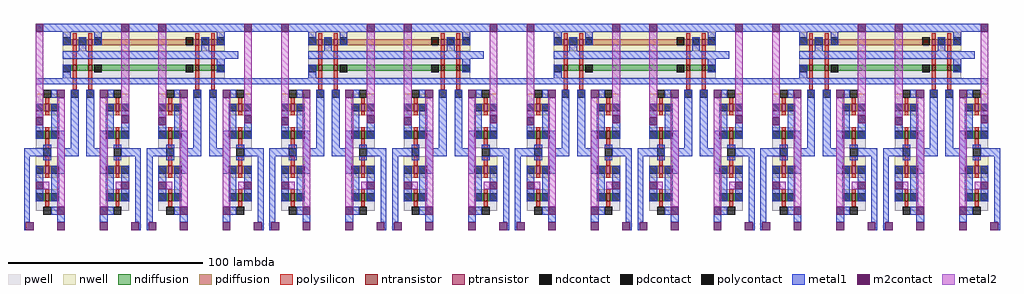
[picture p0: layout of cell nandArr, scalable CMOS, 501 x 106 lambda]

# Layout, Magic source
magic
tech scmos
<< metal1 >>
rect 108 102 140 106
rect 232 102 268 106
rect 359 102 394 106
rect 110 75 139 78
rect 229 75 269 78
rect 362 75 393 78
use muxNand4  muxNand4_0
transform 1 0 0 0 1 8
box 0 -8 123 98
use muxNand4  muxNand4_1
transform 1 0 126 0 1 8
box 0 -8 123 98
use muxNand4  muxNand4_2
transform 1 0 252 0 1 8
box 0 -8 123 98
use muxNand4  muxNand4_3
transform 1 0 378 0 1 8
box 0 -8 123 98
<< end >>

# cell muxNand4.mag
magic
tech scmos
<< pwell >>
rect 25 70 90 80
<< nwell >>
rect 25 84 90 94
<< ndiffusion >>
rect 36 74 103 77
<< pdiffusion >>
rect 36 87 103 90
<< metal1 >>
rect 6 94 117 98
rect 20 87 24 94
rect 28 84 32 91
rect 36 87 40 94
rect 91 84 95 91
rect 99 87 103 94
rect 20 80 110 84
rect 20 70 24 77
rect 99 73 103 80
rect 6 67 117 70
rect 0 30 14 34
rect 50 30 60 34
rect 0 -4 3 30
rect 17 -4 21 4
rect 0 -8 1 -4
rect 39 -4 43 4
rect 57 -4 60 30
rect 59 -8 60 -4
rect 63 30 77 34
rect 113 30 123 34
rect 63 -4 66 30
rect 80 -4 84 4
rect 63 -8 64 -4
rect 102 -4 106 4
rect 120 -4 123 30
rect 122 -8 123 -4
<< metal2 >>
rect 10 13 13 17
rect 47 13 50 17
rect 73 13 76 17
rect 110 13 113 17
<< m2contact >>
rect 6 13 10 17
rect 50 13 54 17
rect 1 -8 5 -4
rect 17 -8 21 -4
rect 39 -8 43 -4
rect 55 -8 59 -4
rect 69 13 73 17
rect 113 13 117 17
rect 64 -8 68 -4
rect 80 -8 84 -4
rect 102 -8 106 -4
rect 118 -8 122 -4
use muxNand  muxNand_0
transform 1 0 17 0 1 67
box -11 -67 37 31
use muxNand  muxNand_1
transform 1 0 80 0 1 67
box -11 -67 37 31
<< end >>

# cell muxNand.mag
magic
tech scmos
<< metal1 >>
rect -7 27 27 30
rect 7 13 29 17
rect -11 0 37 3
rect -11 -17 -7 -10
rect 7 -33 11 -3
rect 0 -37 11 -33
rect 15 -33 19 -3
rect 33 -16 37 -10
rect 15 -37 26 -33
<< metal2 >>
rect -11 -17 -7 27
rect 33 -16 37 27
<< m2contact >>
rect -11 27 -7 31
rect 33 27 37 31
rect -11 -21 -7 -17
rect 33 -20 37 -16
use mux  mux_0
transform 1 0 -11 0 1 -35
box 0 -32 18 32
use mux  mux_1
transform -1 0 37 0 1 -35
box 0 -32 18 32
use nand2  nand2_0
transform 1 0 143 0 1 35
box -140 -42 -120 -8
<< end >>

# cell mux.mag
magic
tech scmos
<< polysilicon >>
rect 5 2 7 4
rect 5 -4 7 -2
<< metal1 >>
rect 8 28 11 32
rect 8 7 15 11
rect 4 2 8 4
rect 1 -2 4 2
rect 4 -4 8 -2
rect 11 2 15 7
rect 11 -2 18 2
rect 11 -7 15 -2
rect 8 -11 15 -7
rect 8 -32 11 -28
<< metal2 >>
rect 11 -28 15 28
<< polycontact >>
rect 4 28 8 32
rect 4 -2 8 2
rect 4 -32 8 -28
<< m2contact >>
rect 11 28 15 32
rect 11 -32 15 -28
use transgate  transgate_0
transform 1 0 5 0 1 39
box -5 -37 7 -9
use transgate  transgate_1
transform 1 0 5 0 1 7
box -5 -37 7 -9
<< end >>

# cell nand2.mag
magic
tech scmos
<< pwell >>
rect -140 -32 -120 -22
<< nwell >>
rect -140 -18 -120 -8
<< polysilicon >>
rect -135 -12 -133 -9
rect -127 -12 -125 -9
rect -135 -25 -133 -15
rect -127 -25 -125 -15
rect -135 -38 -133 -28
rect -127 -38 -125 -28
<< ndiffusion >>
rect -136 -28 -135 -25
rect -133 -28 -127 -25
rect -125 -28 -124 -25
<< pdiffusion >>
rect -136 -15 -135 -12
rect -133 -15 -132 -12
rect -128 -15 -127 -12
rect -125 -15 -124 -12
<< ntransistor >>
rect -135 -28 -133 -25
rect -127 -28 -125 -25
<< ptransistor >>
rect -135 -15 -133 -12
rect -127 -15 -125 -12
<< polycontact >>
rect -136 -42 -132 -38
rect -128 -42 -124 -38
<< ndcontact >>
rect -140 -29 -136 -25
rect -124 -29 -120 -25
<< pdcontact >>
rect -140 -15 -136 -11
rect -132 -15 -128 -11
rect -124 -15 -120 -11
<< end >>

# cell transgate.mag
magic
tech scmos
<< metal1 >>
rect -5 -32 -1 -14
rect 3 -32 7 -14
use nmos  nmos_0
transform 1 0 -2 0 -1 -50
box -3 -24 9 -13
use pmos  pmos_0
transform 1 0 -4 0 1 6
box -1 -26 11 -15
<< end >>

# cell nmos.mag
magic
tech scmos
<< pwell >>
rect -3 -24 9 -13
<< polysilicon >>
rect 2 -18 4 -15
rect 2 -24 4 -22
<< ndiffusion >>
rect 1 -22 2 -18
rect 4 -22 5 -18
<< ntransistor >>
rect 2 -22 4 -18
<< ndcontact >>
rect -3 -22 1 -18
rect 5 -22 9 -18
<< end >>

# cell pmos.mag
magic
tech scmos
<< nwell >>
rect -1 -26 11 -15
<< polysilicon >>
rect 4 -20 6 -17
rect 4 -26 6 -24
<< pdiffusion >>
rect 3 -24 4 -20
rect 6 -24 7 -20
<< ptransistor >>
rect 4 -24 6 -20
<< pdcontact >>
rect -1 -24 3 -20
rect 7 -24 11 -20
<< end >>
